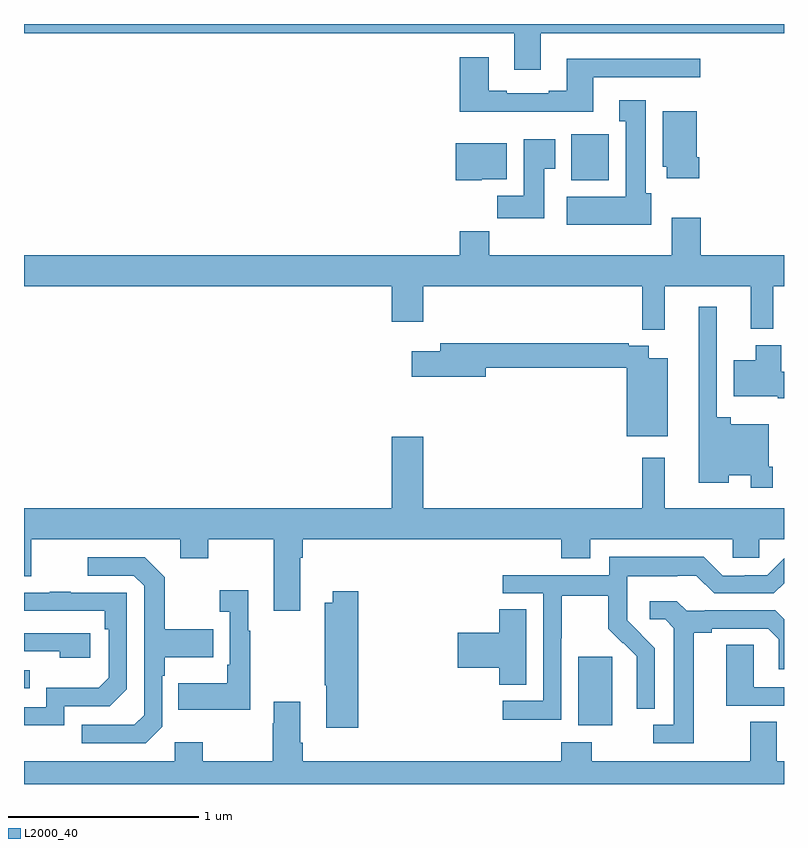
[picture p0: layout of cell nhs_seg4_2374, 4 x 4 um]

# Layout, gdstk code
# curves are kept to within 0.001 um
import gdstk
lib = gdstk.Library(unit=1e-6, precision=1e-09)
def R(c, l, rs):  # rectangles x0, y0, x1, y1
    for r in rs: c.add(gdstk.rectangle(r[:2], r[2:], *l))
def P(c, l, *ps):  # polygons
    for p in ps: c.add(gdstk.Polygon(p, *l))
L2000_40 = (2000, 40)

nhs_seg4_2374 = lib.new_cell('nhs_seg4_2374')
R(nhs_seg4_2374, L2000_40, [(237.917,761.21,238.096,761.571), (235,761.403,235.031,761.499), (237.881,764.078,238.078,764.32)])
P(nhs_seg4_2374, L2000_40, [(237.721,764.852),(239,764.852),(239,764.9),(235,764.9),(235,764.852),(237.581,764.852),(237.581,764.658),(237.721,764.658)],
  [(237.997,764.619),(238.558,764.619),(238.558,764.716),(237.857,764.716),(237.857,764.548),(237.761,764.548),(237.761,764.535),(237.541,764.535),(237.541,764.548),(237.445,764.548),(237.445,764.725),(237.293,764.725),(237.293,764.438),(237.997,764.438)],
  [(238.3,764.01),(238.273,764.01),(238.273,764.5),(238.133,764.5),(238.133,764.387),(238.166,764.387),(238.166,763.99),(237.857,763.99),(237.857,763.844),(238.3,763.844)],
  [(238.553,764.2),(238.54,764.2),(238.54,764.44),(238.361,764.44),(238.361,764.148),(238.382,764.148),(238.382,764.088),(238.553,764.088)],
  [(237.739,764.137),(237.796,764.137),(237.796,764.293),(237.629,764.293),(237.629,763.996),(237.49,763.996),(237.49,763.878),(237.739,763.878)],
  [(237.408,764.084),(237.541,764.084),(237.541,764.272),(237.272,764.272),(237.272,764.078),(237.408,764.078)],
  [(238.373,763.52),(238.826,763.52),(238.826,763.295),(238.943,763.295),(238.943,763.52),(239,763.52),(239,763.684),(238.562,763.684),(238.562,763.879),(238.409,763.879),(238.409,763.684),(237.449,763.684),(237.449,763.808),(237.293,763.808),(237.293,763.684),(235,763.684),(235,763.52),(236.936,763.52),(236.936,763.332),(237.1,763.332),(237.1,763.52),(238.255,763.52),(238.255,763.291),(238.373,763.291)],
  [(238.94,762.571),(238.92,762.571),(238.92,762.793),(238.721,762.793),(238.721,762.829),(238.647,762.829),(238.647,763.411),(238.55,763.411),(238.55,762.485),(238.708,762.485),(238.708,762.524),(238.824,762.524),(238.824,762.459),(238.94,762.459)],
  [(238.387,763.141),(238.288,763.141),(238.288,763.206),(238.184,763.206),(238.184,763.219),(237.191,763.219),(237.191,763.177),(237.042,763.177),(237.042,763.043),(237.43,763.043),(237.43,763.09),(238.172,763.09),(238.172,762.731),(238.387,762.731)],
  [(239,763.071),(238.985,763.071),(238.985,763.21),(238.85,763.21),(238.85,763.129),(238.736,763.129),(238.736,762.941),(238.968,762.941),(238.968,762.929),(239,762.929)],
  [(236.455,762.092),(236.468,762.092),(236.468,762.188),(237.827,762.188),(237.827,762.089),(237.979,762.089),(237.979,762.188),(238.731,762.188),(238.731,762.09),(238.869,762.09),(238.869,762.188),(239,762.188),(239,762.352),(238.372,762.352),(238.372,762.616),(238.255,762.616),(238.255,762.352),(237.1,762.352),(237.1,762.727),(236.936,762.727),(236.936,762.352),(235,762.352),(235,761.994),(235.039,761.994),(235.039,762.188),(235.823,762.188),(235.823,762.089),(235.971,762.089),(235.971,762.188),(236.315,762.188),(236.315,761.811),(236.455,761.811)],
  [(237.828,761.668),(237.831,761.668),(237.831,761.892),(238.075,761.892),(238.075,761.717),(238.152,761.64),(238.155,761.643),(238.226,761.573),(238.226,761.45),(238.224,761.45),(238.224,761.296),(238.32,761.296),(238.32,761.614),(238.174,761.762),(238.174,761.859),(238.176,761.859),(238.176,761.993),(238.439,761.993),(238.439,761.997),(238.539,761.997),(238.632,761.904),(238.947,761.904),(239,761.957),(239,762.089),(238.911,762),(238.793,762),(238.793,761.997),(238.677,761.997),(238.577,762.097),(238.08,762.097),(238.08,762),(237.519,762),(237.519,761.904),(237.732,761.904),(237.732,761.337),(237.519,761.337),(237.519,761.239),(237.828,761.239)],
  [(235.728,761.202),(235.728,761.471),(235.741,761.471),(235.741,761.567),(235.997,761.567),(235.997,761.715),(235.741,761.715),(235.741,761.987),(235.635,762.093),(235.335,762.093),(235.335,761.997),(235.578,761.997),(235.632,761.943),(235.632,761.262),(235.581,761.211),(235.305,761.211),(235.305,761.115),(235.641,761.115)],
  [(236.191,761.707),(236.179,761.707),(236.179,761.92),(236.031,761.92),(236.031,761.807),(236.082,761.807),(236.082,761.527),(236.07,761.527),(236.07,761.431),(235.813,761.431),(235.813,761.291),(236.191,761.291)],
  [(236.759,761.914),(236.624,761.914),(236.624,761.854),(236.584,761.854),(236.584,761.419),(236.591,761.419),(236.591,761.196),(236.759,761.196)],
  [(235.212,761.31),(235.452,761.31),(235.542,761.4),(235.542,761.907),(235.247,761.907),(235.247,761.912),(235.135,761.912),(235.135,761.907),(235,761.907),(235,761.811),(235.426,761.811),(235.426,761.714),(235.446,761.714),(235.446,761.46),(235.393,761.407),(235.116,761.407),(235.116,761.304),(235,761.304),(235,761.208),(235.212,761.208)],
  [(238.525,761.696),(238.621,761.696),(238.621,761.718),(238.916,761.718),(238.973,761.661),(238.973,761.505),(239,761.505),(239,761.768),(238.954,761.814),(238.582,761.814),(238.582,761.811),(238.488,761.811),(238.436,761.863),(238.293,761.863),(238.293,761.766),(238.374,761.766),(238.421,761.719),(238.421,761.211),(238.311,761.211),(238.311,761.115),(238.525,761.115)],
  [(237.643,761.819),(237.5,761.819),(237.5,761.696),(237.282,761.696),(237.282,761.513),(237.5,761.513),(237.5,761.422),(237.643,761.422)],
  [(235.348,761.694),(235,761.694),(235,761.598),(235.187,761.598),(235.187,761.564),(235.348,761.564)],
  [(239,761.409),(238.842,761.409),(238.842,761.633),(238.697,761.633),(238.697,761.313),(239,761.313)],
  [(236.468,761.116),(236.455,761.116),(236.455,761.332),(236.315,761.332),(236.315,761.219),(236.308,761.219),(236.308,761.02),(235.941,761.02),(235.941,761.119),(235.794,761.119),(235.794,761.02),(235,761.02),(235,760.9),(239,760.9),(239,761.02),(238.963,761.02),(238.963,761.228),(238.823,761.228),(238.823,761.02),(237.987,761.02),(237.987,761.119),(237.827,761.119),(237.827,761.02),(236.468,761.02)])

lib.write_gds('nhs_seg4_2374.gds')
